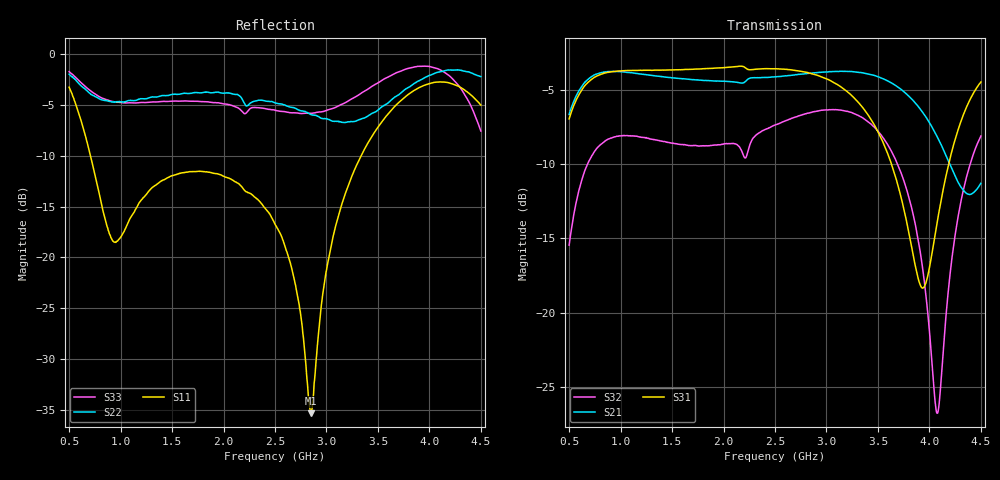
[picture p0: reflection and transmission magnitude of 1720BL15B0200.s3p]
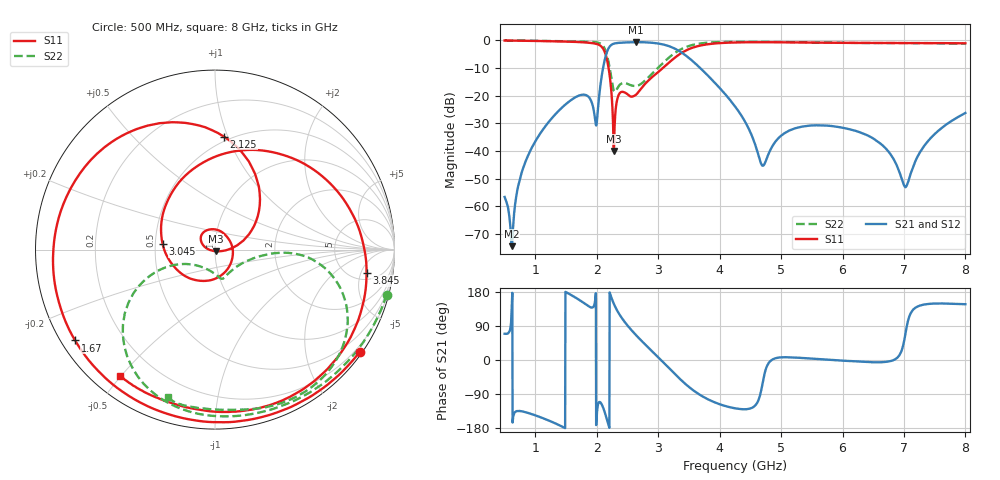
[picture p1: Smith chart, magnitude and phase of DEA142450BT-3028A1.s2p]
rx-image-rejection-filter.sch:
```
<Qucs Schematic 0.0.20>
<Properties>
  <View=0,-399,1273,632,0.620922,0,45>
  <Grid=10,10,1>
  <DataSet=image-rejection-filter.dat>
  <DataDisplay=image-rejection-filter.dpl>
  <OpenDisplay=1>
  <Script=image-rejection-filter.m>
  <RunScript=0>
  <showFrame=0>
  <FrameText0=Title>
  <FrameText1=Drawn By:>
  <FrameText2=Date:>
  <FrameText3=Revision:>
</Properties>
<Symbol>
</Symbol>
<Components>
  <Eqn Eqn1 1 760 470 -28 15 0 0 "S21_dB=dB(S[2,1])" 1 "S11_dB=dB(S[1,1])" 1 "yes" 0>
  <Pac P2 1 750 320 -103 -26 1 1 "2" 1 "200 Ohm" 1 "-20 dBm" 0 "2400 MHz" 0 "26.85" 0>
  <Pac P3 1 1020 320 18 -26 0 1 "1" 1 "50 Ohm" 1 "-20 dBm" 0 "2400 MHz" 0 "26.85" 0>
  <GND * 5 950 400 0 0 0 0>
  <SPfile BALUN4_1 1 850 310 -26 -68 1 2 "1720BL15B0200.s3p" 0 "rectangular" 0 "linear" 0 "open" 0 "3" 0>
  <SPfile BPF 1 950 280 -26 -38 0 0 "DEA142450BT-3028A1.s2p" 0 "rectangular" 0 "linear" 0 "open" 0 "2" 0>
  <.SP SP1 1 390 360 0 67 0 0 "log" 1 "800 MHz" 1 "3000 MHz" 1 "1000" 1 "no" 0 "1" 0 "2" 0 "no" 0 "no" 0>
</Components>
<Wires>
  <880 340 880 380 "" 0 0 0 "">
  <750 280 750 290 "" 0 0 0 "">
  <750 280 820 280 "" 0 0 0 "">
  <750 350 750 380 "" 0 0 0 "">
  <750 380 880 380 "" 0 0 0 "">
  <850 370 850 400 "" 0 0 0 "">
  <850 400 950 400 "" 0 0 0 "">
  <1020 350 1020 400 "" 0 0 0 "">
  <1020 280 1020 290 "" 0 0 0 "">
  <880 280 920 280 "" 0 0 0 "">
  <980 280 1020 280 "" 0 0 0 "">
  <950 400 1020 400 "" 0 0 0 "">
  <950 310 950 400 "" 0 0 0 "">
</Wires>
<Diagrams>
  <Rect 370 136 680 346 3 #c0c0c0 1 00 1 8e+08 2e+08 3e+09 1 -53.4118 10 4.39103 1 -1 0.5 1 315 0 225 "" "" "" "">
	<"S11_dB" #0000ff 2 3 0 0 0>
	<"S21_dB" #ff0000 2 3 0 0 0>
	  <Mkr 2.40526e+09 376 -438 3 0 0>
	  <Mkr 2.53263e+09 596 -439 3 0 0>
	  <Mkr 1.64097e+09 0 -275 3 0 0>
	  <Mkr 1.76017e+09 197 -296 3 0 0>
  </Rect>
</Diagrams>
<Paintings>
  <Text 900 460 12 #000000 0 "BPF: DEA142450BT-3028A1\nBALUN: 1720BL15B0200">
</Paintings>
```
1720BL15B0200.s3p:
!Port1 is connected to pin#1 of device
!Port2 is connected to pin#3 of device
!Port3 is connected to pin#4 of device
!Agilent Technologies,E5071C,MY46103155,A.09.54
!Date: Thu Nov 26 17:36:30 2015
!Data & Calibration Information:
!Freq	S11:SOLT3(ON)	S12:SOLT3(ON)	S13:SOLT3(ON)
!	S21:SOLT3(ON)	S22:SOLT3(ON)	S23:SOLT3(ON)
!	S31:SOLT3(ON)	S32:SOLT3(ON)	S33:SOLT3(ON)
# Hz S dB R 50
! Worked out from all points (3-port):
!   801 points, 500 MHz to 4.5 GHz, reference 50 ohm
!   strongest paths, dB at 500 MHz, 1.5 GHz, 2.5 GHz, 3.5 GHz, 4.5 GHz:
!     S31: -6.9, -3.6, -3.6, -7.8, -4.5
!     S21: -6.6, -4.2, -4.1, -4.1, -11.3
!     S32: -15.5, -8.6, -7.4, -7.8, -8.1
!   lowest |S11| = -35.4 dB at 2.845 GHz (marker M1), VSWR 1.03, Z = 48.5 - j0.694 ohm
!   |S11| at or under -10 dB: 708.7 MHz to 3.336 GHz (2.628 GHz wide, 130 % of centre)
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5e8  -3.23 -92.3  -6.63 70.9  -6.92 -111.4
     -6.64 70.8  -1.94 68.9  -15.46 101.1
     -6.94 -111.4  -15.46 101.2  -1.70 61.4
1.625e9  -11.62 5.9  -4.23 -66.4  -3.60 108.9
         -4.24 -66.5  -3.84 16.9  -8.69 8.0
         -3.60 109.0  -8.68 8.0  -4.58 8.5
2.845e9  -35.35 -155.2  -3.84 -162.2  -3.86 23.4
         -3.86 -162.2  -5.91 -19.2  -6.51 -17.7
         -3.87 23.5  -6.51 -17.5  -5.80 -9.9
4.075e9  -2.72 -8.5  -8.12 84.1  -13.92 31.5
         -8.14 84.0  -1.77 -25.7  -26.79 -33.9
         -13.93 31.6  -26.80 -33.7  -1.39 -56.3
4.5e9  -4.99 -50.1  -11.26 100.2  -4.45 -0.0
       -11.28 100.2  -2.18 -53.8  -8.10 -1.7
       -4.45 0.1  -8.09 -1.6  -7.55 -103.3
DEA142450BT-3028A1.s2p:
! S-parameter Generated by TDK Corporation
! Copyright(C) 2018 TDK Corporation.
! All Rights Reserved.
! BPF
! Date: 2018/06
! TDK P/N: DEA142450BT-3028A1
! Frequency: Start=500.0MHz Stop=8.0GHz
! Port Assignments
!  1(In)---|  |---2(Out)
! Terms and conditions regarding TDK Simulation Models
! (1)This simulation model is being provided solely for informational purposes. Please refer to the specifications of the products in terms of detailed characteristics of such products.
! (2)In no event shall TDK Corporation of any of its subsidiaries be liable for any loss or damage arising, directly or indirectly,
!  From any information contained in this simulation model, including, but not limited to loss or damages arising from any inaccuracies, omissions or errors in connection with such information.
! (3)Any and all copyrights on this simulation model are owned by TDK Corporation.
!  Duplication or redistribution of this simulation model without prior written permission from TDK Corporation is prohibited.
! (4)This simulation model is subject to any modification or change without any prior notice.
! (5)Neither TDK Corporation nor any of its subsidiaries shall make any warranty, express or implied,
!  Including but not limited to the correctness, implied warranties of merchantability and fitness for a particular purpose with respect to this simulation models.
! (6)The use of this simulation model shall be deemed to have consented to the terms and conditions hereof.
# MHz S DB R 50
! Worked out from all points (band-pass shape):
!   1501 points, 500 MHz to 8 GHz, reference 50 ohm
!   highest |S21| = -0.70 dB at 2.64 GHz (marker M1); lowest = -74.3 dB at 615 MHz (marker M2)
!   |S21| within 3 dB of the highest: 2.175 GHz to 3.326 GHz (1.15 GHz wide, 41.8 % of centre)
!   lowest |S11| = -39.9 dB at 2.275 GHz (marker M3), VSWR 1.02, Z = 50.5 - j0.905 ohm
!   |S11| at or under -10 dB: 2.192 GHz to 3.079 GHz (887.3 MHz wide, 33.7 % of centre)
!   |S22| runs from -18.6 to -0.1 dB; largest |S21 - S12| = 0.00096
!   S11 on the Smith chart (normalised r, x): 500 MHz: 0.07, -3.15; 1.67 GHz: 0.04, -0.30; 2.125 GHz: 0.46, +0.97; 3.045 GHz: 0.55, +0.04; 3.845 GHz: 6.55, -6.33; 8 GHz: 0.08, -0.50
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500  -0.12 -35.2  -56.57 69.3  -56.56 69.8  -0.10 -14.7
615  -0.15 -43.7  -74.34 134.0  -73.62 136.2  -0.13 -18.1
1670  -0.64 -147.0  -20.39 163.2  -20.39 163.2  -0.45 -64.0
2125  -4.00 85.5  -7.55 -135.4  -7.55 -135.4  -2.87 -135.2
2275  -39.94 -63.0  -1.27 149.4  -1.28 149.4  -18.09 -131.1
2640  -19.65 -18.3  -0.70 65.5  -0.70 65.5  -16.52 -46.7
3045  -10.66 174.2  -1.38 -0.1  -1.38 -0.1  -8.92 -2.9
3845  -1.37 -8.8  -13.59 -106.4  -13.58 -106.3  -0.83 -40.9
4250  -0.82 -42.2  -23.88 -127.4  -23.88 -127.3  -0.57 -54.7
7025  -1.05 -112.1  -53.07 69.9  -53.03 69.5  -1.04 -98.3
8000  -1.12 -127.0  -26.26 147.2  -26.26 147.4  -1.27 -107.7
